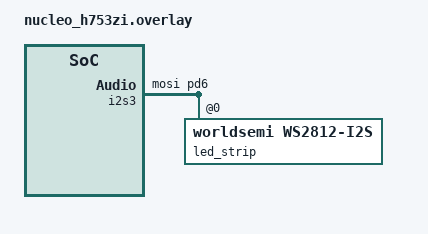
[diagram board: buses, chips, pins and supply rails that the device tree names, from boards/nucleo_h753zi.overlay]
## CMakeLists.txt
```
cmake_minimum_required(VERSION 3.20.0)

# This repository is the module: its zephyr/module.yml is what makes
# CONFIG_STRIPSEQ exist. Naming it here lets the sample build against any
# workspace without the workspace's west.yml knowing about this repo.
list(APPEND ZEPHYR_EXTRA_MODULES ${CMAKE_CURRENT_SOURCE_DIR}/../..)

find_package(Zephyr REQUIRED HINTS $ENV{ZEPHYR_BASE})
project(strip_demo)

target_sources(app PRIVATE src/main.cpp)

# The adapter between the library's buffer and the led_strip driver, shared
# with the other samples that drive the strip.
target_include_directories(app PRIVATE ${CMAKE_CURRENT_SOURCE_DIR}/../common)
```

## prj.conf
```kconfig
# C++20 is the library's one requirement, and CONFIG_STRIPSEQ depends on it
# rather than selecting it: the standard is the application's choice. The C++
# library stays Zephyr's default minimal one, which is all the core includes.
CONFIG_CPP=y
CONFIG_STD_CPP20=y

# The library. The bench strip is RGBW, so the white channel is on -- not the
# library's default. scripts/sample-build.sh --rgb turns it off on the command
# line, which builds the led_strip_update_rgb() path against the same board.
CONFIG_STRIPSEQ=y
CONFIG_STRIPSEQ_WHITE_CHANNEL=y

# The driver. WS2812_STRIP_I2S is default-y once the devicetree node exists,
# and it selects I2S; I2S_STM32 in turn selects DMA and, on this cache-equipped
# M7, CACHE_MANAGEMENT -- the driver flushes the D-cache over each block before
# the DMA reads it, so the slab can live in ordinary cached SRAM.
CONFIG_LED_STRIP=y

# The user button that advances the bring-up stages.
CONFIG_GPIO=y
```

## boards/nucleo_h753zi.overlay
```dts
/*
 * Copyright (c) 2026 Esben Dueholm Nørgaard
 *
 * SPDX-License-Identifier: Apache-2.0
 */

/*
 * The bench strip: 11 SK6812-class RGBW pixels (ILPL-K501) on I2S3, data out
 * on PD6. Only the data pin is routed; the bit and word clocks run inside the
 * peripheral and never need to leave the chip.
 */

#include <zephyr/dt-bindings/led/led.h>

/*
 * The I2S binding requires dmas, and i2s3's point at dmamux1, which routes to
 * dma1 -- both "disabled" in stm32h7.dtsi and left that way by the board. With
 * either one off, the I2S driver never initialises and neither does the strip.
 */
&dma1 {
	status = "okay";
};

&dmamux1 {
	status = "okay";
};

&i2s3 {
	status = "okay";
	pinctrl-0 = <&spi3_mosi_pd6>;
	pinctrl-names = "default";

	led_strip: ilpl_k501@0 {
		status = "okay";
		compatible = "worldsemi,ws2812-i2s";
		reg = <0>;

		chain-length = <11>;

		/*
		 * Each data bit is one 4-bit nibble of a 100 kHz, 16-bit stereo I2S
		 * stream: 3.2 MHz, 312.5 ns per I2S bit, 1.25 us per LED bit. 0xC is
		 * 625 ns high and 0x8 is 312.5 ns, the SK6812's T1H and T0H. The
		 * binding's default 0xE (937.5 ns) is WS2812B timing. PLL1_Q runs
		 * I2S3 at 480 MHz, which divides to this word clock exactly.
		 */
		lrck-period = <10>;
		nibble-one = <0xC>;
		nibble-zero = <0x8>;
		reset-delay = <80>;

		/*
		 * The order the chip expects on the wire. The RGB path hands this
		 * to the driver; led_strip_update_channels() consults it nowhere,
		 * so on the RGBW path the Zephyr module's adapter reads it to
		 * build its own permute.
		 */
		color-mapping = <LED_COLOR_ID_GREEN
				 LED_COLOR_ID_RED
				 LED_COLOR_ID_BLUE
				 LED_COLOR_ID_WHITE>;
	};
};

/ {
	aliases {
		led-strip = &led_strip;
	};
};
```

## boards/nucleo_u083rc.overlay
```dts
/*
 * Copyright (c) 2026 Esben Dueholm Nørgaard
 *
 * SPDX-License-Identifier: Apache-2.0
 */

/*
 * The bench strip on a Nucleo-U083RC: the same 11 SK6812-class RGBW pixels
 * (ILPL-K501), driven from SPI3 with data out on PB5 (Arduino D4). The U0 has
 * no I2S, so each LED bit is a short symbol on MOSI instead. Only MOSI is
 * routed; SCK runs inside the peripheral and never needs to leave the chip.
 *
 * Build with --rgb. worldsemi,ws2812-spi implements led_strip_update_rgb()
 * and not led_strip_update_channels(), so an RGBW build runs but every update
 * returns -ENOSYS and the strip stays dark. On the RGB path the driver applies
 * color-mapping itself and sends zero for the white die.
 *
 * SPI3 rather than the board's SPI1, whose SCK shares PA5 with the user LED
 * and whose pins the board already hands to the Arduino header.
 */

#include <zephyr/dt-bindings/led/led.h>

/*
 * DMA keeps the symbols back to back. Fed by interrupt, a 48 MHz M0+ leaves
 * gaps between bytes, which only stretch each bit's low time but eat into
 * the margin before the strip mistakes a gap for a reset. The DMAMUX request
 * lines are SPI3's, as Zephyr's own spi_loopback overlay for the U083 uses
 * them; the driver wants both directions even for a write. dma1 and dmamux1
 * are already enabled by the board. CONFIG_SPI_STM32_DMA is in this board's
 * .conf.
 */
&spi3 {
	status = "okay";
	/*
	 * Between frames the line must read low, or the next frame's first bit
	 * is lost. The HAL's pinctrl node for this pin already carries a
	 * pull-down, which holds it there if the peripheral lets go of the pin
	 * when a transfer ends.
	 */
	pinctrl-0 = <&spi3_mosi_pb5>;
	pinctrl-names = "default";
	dmas = <&dmamux1 2 41 (STM32_DMA_PERIPH_TX | STM32_DMA_PRIORITY_HIGH)>,
	       <&dmamux1 1 40 (STM32_DMA_PERIPH_RX | STM32_DMA_PRIORITY_HIGH)>;
	dma-names = "tx", "rx";

	led_strip: ilpl_k501@0 {
		status = "okay";
		compatible = "worldsemi,ws2812-spi";
		reg = <0>;

		chain-length = <11>;

		/*
		 * Each data bit is one 4-bit symbol at 3 MHz, the 48 MHz system
		 * clock divided by 16: 333 ns per SPI bit, 1.33 us per LED bit.
		 * 0xC is 667 ns high and 0x8 is 333 ns, the SK6812's T1H and T0H
		 * within its 150 ns tolerance. Both end low, so a pause between
		 * bytes only lengthens a bit's low time.
		 */
		spi-max-frequency = <3000000>;
		bits-per-symbol = <4>;
		spi-one-frame = <0xC>;
		spi-zero-frame = <0x8>;
		reset-delay = <80>;

		/*
		 * The order the chip expects on the wire. The driver reads it on
		 * the RGB path, and fills the white slot with zero.
		 */
		color-mapping = <LED_COLOR_ID_GREEN
				 LED_COLOR_ID_RED
				 LED_COLOR_ID_BLUE
				 LED_COLOR_ID_WHITE>;
	};
};

/ {
	aliases {
		led-strip = &led_strip;
	};
};
```

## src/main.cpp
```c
/*
 * Copyright (c) 2026 Esben Dueholm Nørgaard
 *
 * SPDX-License-Identifier: Apache-2.0
 */

/* The bring-up app: the Zephyr side of the library, driving the bench strip
 * through the stages described in this sample's README.md.
 *
 * The library never touches hardware or reads a clock, so everything platform-
 * shaped is here or in the Zephyr module's <stripseq/zephyr/led_strip.h>: the
 * frame loop on a k_work_delayable, k_uptime_get() sampled once per frame, the
 * hold turned into a reschedule, and, in the module, the channel permute and
 * the strip update. The user button advances to the next stage.
 *
 * Both work items run on the system workqueue, which serialises them: a stage
 * change can never land halfway through a render, so nothing here locks.
 */

#include <zephyr/device.h>
#include <zephyr/drivers/gpio.h>
#include <zephyr/kernel.h>
#include <zephyr/sys/printk.h>

#include <stripseq/stripseq.h>

#include <stripseq/zephyr/led_strip.h>

using namespace stripseq;

#define STRIP_NODE DT_ALIAS(led_strip)

static constexpr uint16_t kPixels = DT_PROP(STRIP_NODE, chain_length);

static uint8_t   buffer[kPixels * Strip::bytes_per_pixel];
static Sequencer seq;
constinit static Strip strip(buffer);

/* The device, and on RGBW the channel order its color-mapping names. */
static constexpr zephyr::LedStrip strip_out = STRIPSEQ_LED_STRIP_DT_GET(STRIP_NODE);
static const struct gpio_dt_spec button = GPIO_DT_SPEC_GET(DT_ALIAS(sw0), gpios);

/* A frame with nothing animating still costs a full transfer, so a hold of 0
 * means "come back at the frame rate", and this is the frame rate. */
static constexpr uint32_t kFramePeriodMs = 16;

/* Bring-up proves wiring, timing and code paths, not light output. Brightness
 * is applied in the space colors are written in, before gamma, so 64 of 255
 * is about 3% of full light, which keeps eleven pixels at full white well
 * inside what a USB-powered bench supplies. */
static constexpr uint8_t kBrightness = 64;

/* ---- The stages --------------------------------------------------------- */

/* Each stage asks the hardware one question the one before it could not.
 * Solid colors and the gradient are seeked rather than played, so they report
 * hold_forever and the frame loop stops: the frame count printed when the
 * button leaves a static stage is 1, or the hold fold is wrong. */

static constexpr Sequence kRed = SequenceBuilder{}.hold(colors::red, 1000).build_const();

#if STRIPSEQ_WHITE_CHANNEL
/* The white die alone: the one color update_rgb() would silently zero. */
static constexpr Sequence kWhiteDie =
    SequenceBuilder{}.hold(Color::rgbw(0, 0, 0, 65535), 1000).build_const();
#endif

static constexpr Sequence kBlink =
    SequenceBuilder{}.hold(colors::red, 500).hold(colors::black, 500).build_const();

static constexpr Sequence kComet = SequenceBuilder{}
    .hold(colors::rgbwhite, 50)
    .fade_to(colors::black, 450)
    .build_const();

static constexpr Sequence kRainbow = SequenceBuilder{}
    .fade_to(Color::hsv(0x2AAA, 255, 255), 500)
    .fade_to(Color::hsv(0x5555, 255, 255), 500)
    .fade_to(Color::hsv(0x8000, 255, 255), 500)
    .fade_to(Color::hsv(0xAAAA, 255, 255), 500)
    .fade_to(Color::hsv(0xD555, 255, 255), 500)
    .fade_to(Color::hsv(0x0000, 255, 255), 500)
    .build_const();

static void show_static(const Sequence& s) {
    seq.load(s);
    seq.seek(0);
    strip.add(Segment(0, kPixels, seq));
}

static void show_red(int64_t) { show_static(kRed); }

#if STRIPSEQ_WHITE_CHANNEL
static void show_white_die(int64_t) { show_static(kWhiteDie); }
#endif

static void show_blink(int64_t now) {
    seq.load(kBlink);
    seq.play(now);
    strip.add(Segment(0, kPixels, seq));
}

/* The head runs from pixel 0 toward the far end: a positive delay makes each
 * pixel later than the one before it. */
static void show_comet(int64_t now) {
    seq.load(kComet);
    seq.play(now);
    Segment s(0, kPixels, seq);
    s.set_pixel_delay(16);
    strip.add(s);
}

/* The seam between the last pixel and the first should be as smooth as any
 * other neighbour pair, since the whole wheel is spread across the strip. */
static void show_rainbow(int64_t now) {
    seq.load(kRainbow);
    seq.play(now);
    Segment s(0, kPixels, seq);
    s.set_pixel_delay_q8(spread(3000, kPixels));
    strip.add(s);
}

static void show_gradient(int64_t) {
    seq.load(kRainbow);
    seq.seek(0);
    Segment s(0, kPixels, seq);
    s.set_pixel_delay_q8(spread(3000, kPixels));
    strip.add(s);
}

struct Stage {
    const char* name;
    void (*show)(int64_t now);
};

static constexpr Stage kStages[] = {
    {"solid red: wiring, permute, power", show_red},
#if STRIPSEQ_WHITE_CHANNEL
    {"white die only: the update_channels path", show_white_die},
#endif
    {"blink: frame loop and hold", show_blink},
    {"comet: stagger and its sign", show_comet},
    {"rainbow: HSV and the ring seam", show_rainbow},
    {"static gradient: an idle workqueue", show_gradient},
};
static constexpr size_t kStageCount = sizeof(kStages) / sizeof(kStages[0]);

static size_t   stage;
static uint32_t frames;
static int64_t  stage_start_ms;

/* ---- The frame loop ----------------------------------------------------- */

static void frame(struct k_work* work);
static K_WORK_DELAYABLE_DEFINE(frame_work, frame);

static void frame(struct k_work*) {
    const int64_t now = k_uptime_get();   /* sampled once for the whole frame */
    strip.drop_finished(now);
    const uint32_t hold = strip.render(now);

    const int err = zephyr::update(strip_out, buffer);
    if (err)
        printk("strip update failed: %d\n", err);
    ++frames;

    /* hold_forever: nothing on the strip will change until a stage change
     * reschedules this, so the workqueue has nothing to do until then. */
    if (hold != hold_forever)
        k_work_reschedule(&frame_work, K_MSEC(hold ? hold : kFramePeriodMs));
}

/* ---- Stage changes ------------------------------------------------------ */

static void enter_stage(size_t next) {
    strip.clear();

    stage = next;
    frames = 0;
    stage_start_ms = k_uptime_get();
    printk("stage %u/%u: %s\n", static_cast<unsigned>(stage + 1),
           static_cast<unsigned>(kStageCount), kStages[stage].name);
    kStages[stage].show(stage_start_ms);

    /* A static stage stopped rescheduling, so the new one must restart it. */
    k_work_reschedule(&frame_work, K_NO_WAIT);
}

/* The time beside the count is what turns it into a rate: about two frames a
 * second for blink, one per 500 ms hold, and one per kFramePeriodMs for comet
 * and rainbow, whose holds are always 0. */
static void advance(struct k_work*) {
    printk("  %u frames in %u ms\n", static_cast<unsigned>(frames),
           static_cast<unsigned>(k_uptime_get() - stage_start_ms));
    enter_stage((stage + 1) % kStageCount);
}
static K_WORK_DEFINE(advance_work, advance);

/* The button bounces; a press inside this window of the last one is the same
 * press. */
static constexpr int64_t kDebounceMs = 200;
static int64_t last_press_ms;
static struct gpio_callback button_cb;

static void on_button(const struct device*, struct gpio_callback*, uint32_t) {
    const int64_t now = k_uptime_get();
    if (now - last_press_ms < kDebounceMs)
        return;
    last_press_ms = now;
    k_work_submit(&advance_work);
}

int main() {
    if (!device_is_ready(strip_out.dev)) {
        printk("LED strip %s is not ready\n", strip_out.dev->name);
        return 0;
    }
    if (!gpio_is_ready_dt(&button) || gpio_pin_configure_dt(&button, GPIO_INPUT) ||
        gpio_pin_interrupt_configure_dt(&button, GPIO_INT_EDGE_TO_ACTIVE)) {
        printk("user button is not available\n");
        return 0;
    }
    gpio_init_callback(&button_cb, on_button, BIT(button.pin));
    gpio_add_callback(button.port, &button_cb);

    strip.set_brightness(kBrightness);
    printk("strip_demo: %u pixels, %s, gamma %s. The user button advances.\n",
           static_cast<unsigned>(kPixels), STRIPSEQ_WHITE_CHANNEL ? "RGBW" : "RGB",
           STRIPSEQ_GAMMA ? "on" : "off");
    enter_stage(0);
    return 0;
}
```
